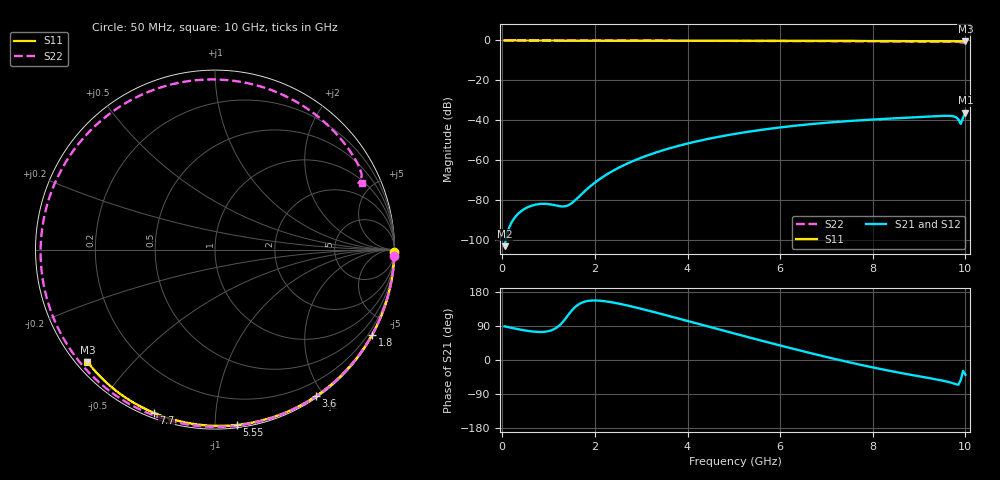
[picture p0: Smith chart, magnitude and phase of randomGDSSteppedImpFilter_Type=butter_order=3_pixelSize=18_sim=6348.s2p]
! freq	dB(S11)	phase(S11)	dB(S12)	phase(S12)
!  dB(S21)	phase(S21)	dB(S22)	phase(S22)
!S-par simulation data
#  GHz  S  DB  R 50
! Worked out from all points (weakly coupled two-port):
!   200 points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, 50 MHz to 10 GHz, reference 50 ohm
!   highest |S21| = -36.12 dB at 10 GHz (marker M1); lowest = -103.1 dB at 50 MHz (marker M2)
!   lowest |S11| = -0.5 dB at 10 GHz (marker M3), VSWR 37.32, Z = 1.53 - j18.9 ohm
!   |S11| at or under -10 dB: nowhere
!   |S22| runs from -1.1 to 0.0 dB; largest |S21 - S12| = 0
!   S11 on the Smith chart (normalised r, x): 50 MHz: open; 1.8 GHz: 0.03, -3.95; 3.6 GHz: 0.02, -1.90; 5.55 GHz: 0.02, -1.13; 7.7 GHz: 0.02, -0.69; 10 GHz: 0.03, -0.38
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0.05  -0.00 -0.8  -103.08 88.7  -103.08 88.7  -0.00 -1.9
0.75  -0.02 -12.0  -82.14 74.2  -82.14 74.2  -0.04 -28.6
1.55  -0.03 -24.6  -80.58 137.1  -80.58 137.1  -0.07 -57.9
1.75  -0.04 -27.7  -76.19 152.8  -76.19 152.8  -0.08 -65.0
1.8  -0.04 -28.4  -75.12 154.6  -75.12 154.6  -0.08 -66.8
2.1  -0.04 -33.1  -69.52 156.5  -69.52 156.5  -0.09 -77.1
2.45  -0.05 -38.4  -64.55 150.4  -64.55 150.4  -0.11 -88.9
2.9  -0.06 -45.2  -59.68 138.1  -59.68 138.1  -0.12 -103.6
3.4  -0.07 -52.6  -55.52 122.6  -55.52 122.6  -0.14 -119.3
3.6  -0.07 -55.6  -54.12 116.1  -54.12 116.1  -0.15 -125.5
4.35  -0.09 -66.3  -49.79 91.5  -49.79 91.5  -0.19 -148.1
5.05  -0.12 -76.1  -46.71 68.6  -46.71 68.6  -0.23 -169.0
5.55  -0.14 -82.9  -44.94 52.5  -44.94 52.5  -0.26 176.1
6.1  -0.16 -90.2  -43.31 35.1  -43.31 35.1  -0.30 159.3
6.7  -0.19 -98.0  -41.85 16.8  -41.85 16.8  -0.34 140.4
7.7  -0.25 -110.6  -40.05 -11.7  -40.05 -11.7  -0.42 107.0
8.35  -0.30 -118.6  -39.18 -28.2  -39.18 -28.2  -0.48 84.0
9  -0.36 -126.6  -38.37 -43.0  -38.37 -43.0  -0.54 60.0
9.65  -0.43 -134.4  -37.79 -58.4  -37.79 -58.4  -0.62 35.5
9.8  -0.45 -136.2  -38.51 -64.1  -38.51 -64.1  -0.68 29.4
9.9  -0.47 -137.4  -41.78 -52.6  -41.78 -52.6  -0.93 25.1
10  -0.47 -138.6  -36.12 -39.0  -36.12 -39.0  -0.93 24.3
